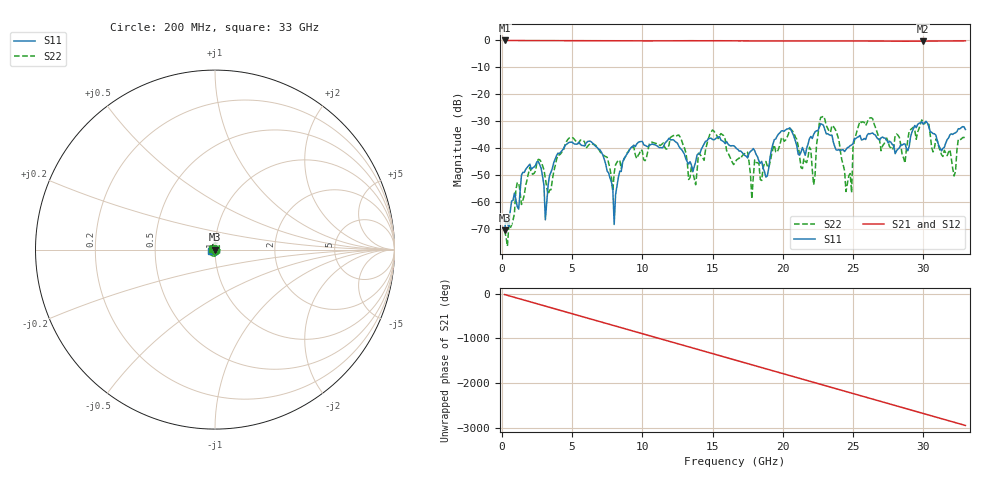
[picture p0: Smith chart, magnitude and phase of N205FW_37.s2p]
# GHZ S RI R 50
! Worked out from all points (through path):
!   329 points, 200 MHz to 33 GHz, reference 50 ohm
!   highest |S21| = -0.02 dB at 200 MHz (marker M1); lowest = -0.3 dB at 30 GHz (marker M2)
!   group delay of S21, straight-line fit = 248 ps
!   lowest |S11| = -70.7 dB at 200 MHz (marker M3), VSWR 1.00, Z = 50 + j0.00817 ohm
!   |S11| at or under -10 dB: start of sweep to end of sweep
!   |S22| runs from -76.5 to -28.2 dB; largest |S21 - S12| = 0.0022
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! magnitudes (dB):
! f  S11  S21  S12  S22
! 200 MHz  -70.7  0.0  0.0  -70.6
! 2 GHz  -46.0  -0.1  -0.1  -47.2
! 2.8 GHz  -47.5  -0.1  -0.1  -45.2
! 3.1 GHz  -66.7  -0.1  -0.1  -51.3
! 3.9 GHz  -42.8  -0.1  -0.1  -44.3
! 5.7 GHz  -39.1  -0.1  -0.1  -37.1
! 7.2 GHz  -42.7  -0.1  -0.1  -42.4
! 8 GHz  -68.4  -0.1  -0.1  -49.3
! 8.7 GHz  -44.0  -0.1  -0.1  -44.1
! 11.2 GHz  -39.8  -0.2  -0.2  -38.9
! 16.6 GHz  -39.5  -0.2  -0.2  -45.4
! 17.5 GHz  -43.7  -0.2  -0.2  -41.6
! 17.8 GHz  -40.9  -0.2  -0.2  -58.9
! 20.5 GHz  -32.5  -0.2  -0.2  -32.9
! 22.1 GHz  -36.5  -0.2  -0.2  -48.1
! 22.9 GHz  -31.6  -0.2  -0.2  -28.2
! 24.5 GHz  -40.6  -0.2  -0.2  -56.2
! 25.5 GHz  -35.3  -0.2  -0.2  -30.0
! 27.6 GHz  -37.5  -0.3  -0.3  -39.5
! 30 GHz  -31.1  -0.3  -0.3  -31.0
! 32.2 GHz  -34.5  -0.2  -0.2  -50.4
! 33 GHz  -33.1  -0.2  -0.2  -36.4
